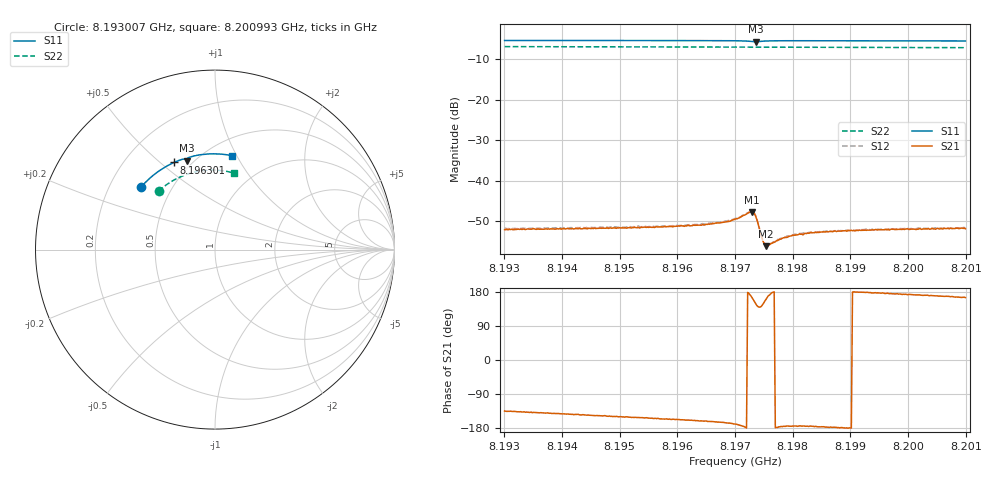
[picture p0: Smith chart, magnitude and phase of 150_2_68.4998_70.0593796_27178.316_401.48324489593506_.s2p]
#  HZ  S  RI  R  50.00
! Rohde & Schwarz Vector Network Analyzer
! Rohde-Schwarz,ZNB20-2Port,1311601062101988,3.16
! Created: UTC 3/20/2024, 5:10:23 PM
! freq[Hz]  re:S11  im:S11  re:S21  im:S21  re:S12  im:S12  re:S22  im:S22
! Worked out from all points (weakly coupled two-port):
!   401 points, 8.193007 GHz to 8.200993 GHz, reference 50 ohm
!   highest |S21| = -47.64 dB at 8.197299 GHz (marker M1); lowest = -56.1 dB at 8.197539 GHz (marker M2)
!   lowest |S11| = -5.7 dB at 8.197359 GHz (marker M3), VSWR 3.17, Z = 23.1 + j31.4 ohm
!   |S11| at or under -10 dB: nowhere
!   |S22| runs from -7.1 to -6.9 dB; largest |S21 - S12| = 0.00023
!   S11 on the Smith chart (normalised r, x): 8.193007 GHz: 0.34, +0.33; 8.196301 GHz: 0.41, +0.56; 8.200993 GHz: 0.65, +0.95
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8.1930071e9  -0.4128 0.347  -0.00175 -0.00178  -0.00188 -0.00179  -0.3144 0.3255
8.1943446e9  -0.3455 0.4131  -0.00209 -0.00147  -0.00222 -0.00145  -0.2554 0.3714
8.1956822e9  -0.2673 0.466  -0.00245 -0.00115  -0.00251 -0.0011  -0.1893 0.4069
8.1963011e9  -0.2279 0.4858  -0.00265 -0.000995  -0.00276 -0.000895  -0.1569 0.4193
8.1967203e9  -0.1995 0.4972  -0.0029 -0.000839  -0.00298 -0.00072  -0.1343 0.4265
8.19688e9  -0.188 0.501  -0.00307 -0.000738  -0.00318 -0.000656  -0.1257 0.4288
8.1969998e9  -0.1789 0.5036  -0.0033 -0.000644  -0.00339 -0.000495  -0.1191 0.4302
8.1972394e9  -0.1581 0.5037  -0.00404 0.000291  -0.00409 0.000499  -0.1057 0.4333
8.1972993e9  -0.1544 0.5001  -0.00398 0.00117  -0.00399 0.00136  -0.1026 0.4338
8.1973192e9  -0.1543 0.4984  -0.00378 0.00149  -0.00379 0.00166  -0.1013 0.434
8.1973592e9  -0.1557 0.4964  -0.0031 0.00191  -0.00309 0.00207  -0.0994 0.4343
8.1973991e9  -0.1579 0.4972  -0.00231 0.00188  -0.00226 0.00199  -0.0973 0.4348
8.197479e9  -0.1575 0.504  -0.00153 0.00102  -0.00152 0.00112  -0.093 0.4358
8.1975189e9  -0.1552 0.5071  -0.0015 0.000657  -0.00149 0.000763  -0.0908 0.4362
8.1975388e9  -0.1535 0.5084  -0.00147 0.000526  -0.00154 0.000597  -0.0898 0.4364
8.1975987e9  -0.149 0.5114  -0.00161 0.000239  -0.00166 0.000298  -0.0863 0.437
8.1977984e9  -0.1337 0.5176  -0.00191 -0.000153  -0.00196 -6.39e-05  -0.0752 0.4388
8.197978e9  -0.1205 0.521  -0.00209 -0.000187  -0.00215 -0.000157  -0.0648 0.4401
8.1983374e9  -0.0946 0.5264  -0.00228 -0.0002  -0.00233 -0.000114  -0.0447 0.442
8.1986967e9  -0.0692 0.53  -0.00236 -0.000106  -0.00238 -2.19e-06  -0.0243 0.443
8.199675e9  0.000393 0.5335  -0.00246 0.000221  -0.00255 0.000303  0.0311 0.4408
8.2009926e9  0.093 0.5236  -0.00247 0.000673  -0.00252 0.000777  0.1048 0.4267
